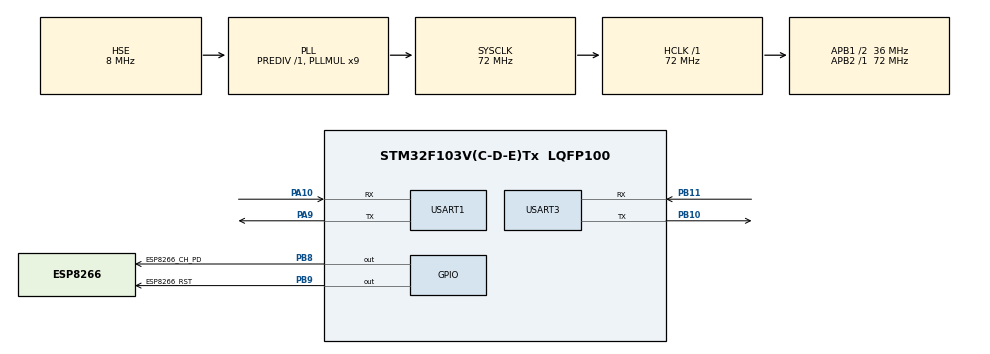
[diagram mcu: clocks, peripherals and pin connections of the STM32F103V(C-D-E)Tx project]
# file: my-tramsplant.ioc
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FREERTOS.Tasks01=defaultTask,0,128,StartDefaultTask,Default,NULL,Dynamic,NULL,NULL
Mcu.Family=STM32F1
Mcu.Name=STM32F103V(C-D-E)Tx
Mcu.Package=LQFP100
NVIC.PriorityGroup=NVIC_PRIORITYGROUP_4
NVIC.USART1_IRQn=true\:5\:0\:false\:false\:true\:true\:true\:true\:true
NVIC.USART3_IRQn=true\:5\:0\:false\:false\:true\:true\:true\:true\:true
OSC_IN.Mode=HSE-External-Oscillator
OSC_IN.Signal=RCC_OSC_IN
OSC_OUT.Mode=HSE-External-Oscillator
OSC_OUT.Signal=RCC_OSC_OUT
PA10.Mode=Asynchronous
PA10.Signal=USART1_RX
PA13.Mode=Serial_Wire
PA13.Signal=SYS_JTMS-SWDIO
PA14.Mode=Serial_Wire
PA14.Signal=SYS_JTCK-SWCLK
PA9.Mode=Asynchronous
PA9.Signal=USART1_TX
PB10.Mode=Asynchronous
PB10.Signal=USART3_TX
PB11.Mode=Asynchronous
PB11.Signal=USART3_RX
PB8.GPIO_Label=ESP8266_CH_PD
PB8.PinState=GPIO_PIN_SET
PB8.Signal=GPIO_Output
PB9.GPIO_Label=ESP8266_RST
PB9.PinState=GPIO_PIN_SET
PB9.Signal=GPIO_Output
PC14-OSC32_IN.Mode=LSE-External-Oscillator
PC14-OSC32_IN.Signal=RCC_OSC32_IN
PC15-OSC32_OUT.Mode=LSE-External-Oscillator
PC15-OSC32_OUT.Signal=RCC_OSC32_OUT
ProjectManager.HeapSize=0x200
ProjectManager.StackSize=0x400
ProjectManager.TargetToolchain=MDK-ARM V5.32
RCC.AHBFreq_Value=72000000
RCC.APB1CLKDivider=RCC_HCLK_DIV2
RCC.APB1Freq_Value=36000000
RCC.APB1TimFreq_Value=72000000
RCC.APB2Freq_Value=72000000
RCC.APB2TimFreq_Value=72000000
RCC.HCLKFreq_Value=72000000
RCC.PLLMUL=RCC_PLL_MUL9
RCC.PLLSourceVirtual=RCC_PLLSOURCE_HSE
RCC.SYSCLKFreq_VALUE=72000000
RCC.SYSCLKSource=RCC_SYSCLKSOURCE_PLLCLK
RCC.USBFreq_Value=72000000
USART1.VirtualMode=VM_ASYNC
USART3.VirtualMode=VM_ASYNC
VP_FREERTOS_VS_CMSIS_V1.Mode=CMSIS_V1
board=custom

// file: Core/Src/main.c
/* USER CODE BEGIN Header */
/**
  ******************************************************************************
  * @file           : main.c
  * @brief          : Main program body
  ******************************************************************************
  * @attention
  *
  * Copyright (c) 2023 STMicroelectronics.
  * All rights reserved.
  *
  * This software is licensed under terms that can be found in the LICENSE file
  * in the root directory of this software component.
  * If no LICENSE file comes with this software, it is provided AS-IS.
  *
  ******************************************************************************
  */
/* USER CODE END Header */
#include "main.h"
#include "cmsis_os.h"
#include "usart.h"
#include "gpio.h"

/* USER CODE BEGIN Includes */
#include "driver_usart.h"
#include <stdio.h>
#include "at_commend.h"

/* USER CODE END Includes */

void SystemClock_Config(void);
void MX_FREERTOS_Init(void);
/* USER CODE BEGIN PFP */
ring_buffer test_buffer;
ring_buffer uart3_buffer;
/* USER CODE END PFP */

/* USER CODE BEGIN 0 */

void sys_nvic_set_vector_table(uint32_t baseaddr, uint32_t offset)
{
    /* 设置NVIC的向量表偏移寄存器,VTOR低9位保留,即[8:0]保留 */
    SCB->VTOR = baseaddr | (offset & (uint32_t)0xFFFFFE00);
}
/* USER CODE END 0 */

int main(void)
{
  /* USER CODE BEGIN 1 */
	sys_nvic_set_vector_table(FLASH_BASE, 0x10000);
  /* USER CODE END 1 */

  /* MCU Configuration--------------------------------------------------------*/

  /* Reset of all peripherals, Initializes the Flash interface and the Systick. */
  HAL_Init();

  /* Configure the system clock */
  SystemClock_Config();

  /* Initialize all configured peripherals */
  MX_GPIO_Init();
  MX_USART1_UART_Init();
  MX_USART3_UART_Init();
  /* USER CODE BEGIN 2 */
	UART3_Lock_Init();
  	ATInit();
    ring_buffer_init(&test_buffer);
	ring_buffer_init(&uart3_buffer);

	EnableDebugIRQ();
	EnableUART3IRQ();
	printf("Hello World");

  /* USER CODE END 2 */

  /* Call init function for freertos objects (in freertos.c) */
  MX_FREERTOS_Init();
  /* Start scheduler */
  osKernelStart();
  /* We should never get here as control is now taken by the scheduler */
  /* Infinite loop */
  while (1)
  {
  USART3_Write("AT\r\n", 4);
  for(int i=0;i<0x5fffff;i++);
  }
}

void SystemClock_Config(void)
{
  RCC_OscInitTypeDef RCC_OscInitStruct = {0};
  RCC_ClkInitTypeDef RCC_ClkInitStruct = {0};

  /** Initializes the RCC Oscillators according to the specified parameters
  * in the RCC_OscInitTypeDef structure.
  */
  RCC_OscInitStruct.OscillatorType = RCC_OSCILLATORTYPE_HSE;
  RCC_OscInitStruct.HSEState = RCC_HSE_ON;
  RCC_OscInitStruct.HSEPredivValue = RCC_HSE_PREDIV_DIV1;
  RCC_OscInitStruct.HSIState = RCC_HSI_ON;
  RCC_OscInitStruct.PLL.PLLState = RCC_PLL_ON;
  RCC_OscInitStruct.PLL.PLLSource = RCC_PLLSOURCE_HSE;
  RCC_OscInitStruct.PLL.PLLMUL = RCC_PLL_MUL9;
  if (HAL_RCC_OscConfig(&RCC_OscInitStruct) != HAL_OK)
  {
    Error_Handler();
  }

  /** Initializes the CPU, AHB and APB buses clocks
  */
  RCC_ClkInitStruct.ClockType = RCC_CLOCKTYPE_HCLK|RCC_CLOCKTYPE_SYSCLK
                              |RCC_CLOCKTYPE_PCLK1|RCC_CLOCKTYPE_PCLK2;
  RCC_ClkInitStruct.SYSCLKSource = RCC_SYSCLKSOURCE_PLLCLK;
  RCC_ClkInitStruct.AHBCLKDivider = RCC_SYSCLK_DIV1;
  RCC_ClkInitStruct.APB1CLKDivider = RCC_HCLK_DIV2;
  RCC_ClkInitStruct.APB2CLKDivider = RCC_HCLK_DIV1;

  if (HAL_RCC_ClockConfig(&RCC_ClkInitStruct, FLASH_LATENCY_2) != HAL_OK)
  {
    Error_Handler();
  }
}

void Error_Handler(void)
{
  __disable_irq();
  while (1)
  {
  }
}

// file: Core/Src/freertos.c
/* USER CODE BEGIN Header */
/**
  ******************************************************************************
  * File Name          : freertos.c
  * Description        : Code for freertos applications
  ******************************************************************************
  * @attention
  *
  * Copyright (c) 2023 STMicroelectronics.
  * All rights reserved.
  *
  * This software is licensed under terms that can be found in the LICENSE file
  * in the root directory of this software component.
  * If no LICENSE file comes with this software, it is provided AS-IS.
  *
  ******************************************************************************
  */
/* USER CODE END Header */

#include "FreeRTOS.h"
#include "task.h"
#include "main.h"
#include "cmsis_os.h"

/* USER CODE BEGIN Includes */
#include "at_commend.h"
/* USER CODE END Includes */

osThreadId defaultTaskHandle;

void StartDefaultTask(void const * argument);

void MX_FREERTOS_Init(void); /* (MISRA C 2004 rule 8.1) */

/* GetIdleTaskMemory prototype (linked to static allocation support) */
void vApplicationGetIdleTaskMemory( StaticTask_t **ppxIdleTaskTCBBuffer, StackType_t **ppxIdleTaskStackBuffer, uint32_t *pulIdleTaskStackSize );

/* USER CODE BEGIN GET_IDLE_TASK_MEMORY */
static StaticTask_t xIdleTaskTCBBuffer;
static StackType_t xIdleStack[configMINIMAL_STACK_SIZE];

void vApplicationGetIdleTaskMemory( StaticTask_t **ppxIdleTaskTCBBuffer, StackType_t **ppxIdleTaskStackBuffer, uint32_t *pulIdleTaskStackSize )
{
  *ppxIdleTaskTCBBuffer = &xIdleTaskTCBBuffer;
  *ppxIdleTaskStackBuffer = &xIdleStack[0];
  *pulIdleTaskStackSize = configMINIMAL_STACK_SIZE;
  /* place for user code */
}
/* USER CODE END GET_IDLE_TASK_MEMORY */

void MX_FREERTOS_Init(void) {

  /* Create the thread(s) */
  /* definition and creation of defaultTask */
  osThreadDef(defaultTask, StartDefaultTask, osPriorityNormal, 0, 128);
  defaultTaskHandle = osThreadCreate(osThread(defaultTask), NULL);
  /* USER CODE BEGIN RTOS_THREADS */
  /* add threads, ... */

	//创建线程
	osThreadDef(Task_ATTestTask, Task_AClient_Test, osPriorityAboveNormal, 1, 128);
	osThreadCreate(osThread(Task_ATTestTask), NULL);
	osThreadDef(ATRetParserTask, ATRetParser, osPriorityAboveNormal, 1, 128);
	osThreadCreate(osThread(ATRetParserTask), NULL);

  /* USER CODE END RTOS_THREADS */

}

void StartDefaultTask(void const * argument)
{
  for(;;)
  {
    osDelay(1);
  }
}
